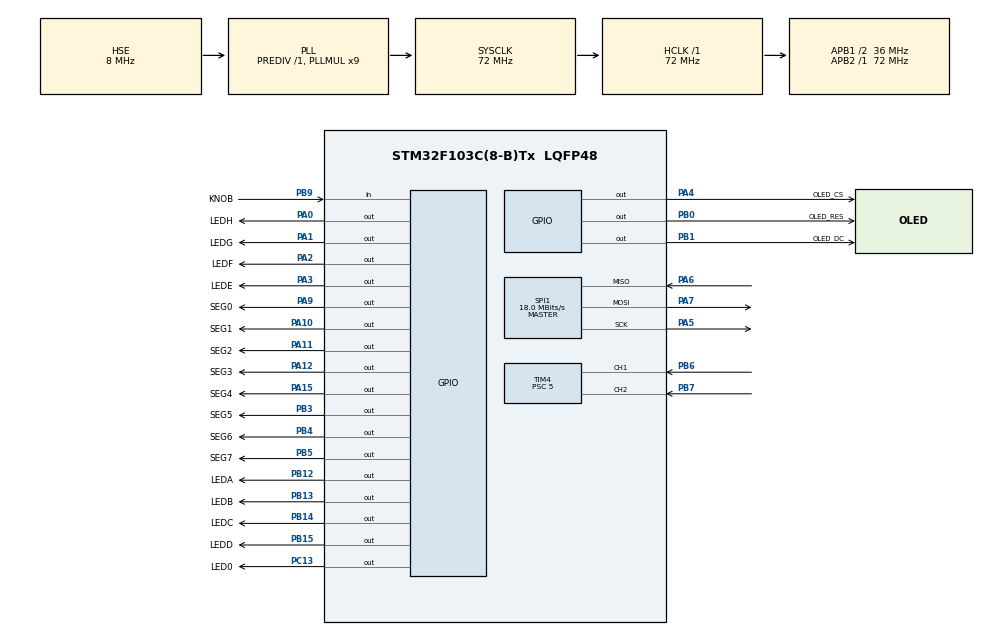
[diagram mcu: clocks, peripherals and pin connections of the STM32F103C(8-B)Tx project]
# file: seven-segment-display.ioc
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Mcu.Family=STM32F1
Mcu.Name=STM32F103C(8-B)Tx
Mcu.Package=LQFP48
NVIC.PriorityGroup=NVIC_PRIORITYGROUP_4
NVIC.RTC_IRQn=true\:0\:0\:false\:false\:true\:true\:true\:true
NVIC.TIM2_IRQn=true\:0\:0\:false\:false\:true\:true\:true\:true
NVIC.TIM3_IRQn=true\:0\:0\:false\:false\:true\:true\:true\:true
NVIC.TIM4_IRQn=true\:0\:0\:false\:false\:true\:true\:true\:true
PA0-WKUP.GPIO_Label=LEDH
PA0-WKUP.GPIO_ModeDefaultOutputPP=GPIO_MODE_OUTPUT_OD
PA0-WKUP.GPIO_PuPd=GPIO_NOPULL
PA0-WKUP.Signal=GPIO_Output
PA1.GPIO_Label=LEDG
PA1.GPIO_ModeDefaultOutputPP=GPIO_MODE_OUTPUT_OD
PA1.GPIO_PuPd=GPIO_NOPULL
PA1.Signal=GPIO_Output
PA10.GPIO_Label=SEG1
PA10.GPIO_ModeDefaultOutputPP=GPIO_MODE_OUTPUT_PP
PA10.GPIO_PuPd=GPIO_NOPULL
PA10.Signal=GPIO_Output
PA11.GPIO_Label=SEG2
PA11.GPIO_ModeDefaultOutputPP=GPIO_MODE_OUTPUT_PP
PA11.GPIO_PuPd=GPIO_NOPULL
PA11.Signal=GPIO_Output
PA12.GPIO_Label=SEG3
PA12.GPIO_ModeDefaultOutputPP=GPIO_MODE_OUTPUT_PP
PA12.GPIO_PuPd=GPIO_NOPULL
PA12.Signal=GPIO_Output
PA13.Mode=Serial_Wire
PA13.Signal=SYS_JTMS-SWDIO
PA14.Mode=Serial_Wire
PA14.Signal=SYS_JTCK-SWCLK
PA15.GPIO_Label=SEG4
PA15.GPIO_ModeDefaultOutputPP=GPIO_MODE_OUTPUT_PP
PA15.GPIO_PuPd=GPIO_NOPULL
PA15.Signal=GPIO_Output
PA2.GPIO_Label=LEDF
PA2.GPIO_ModeDefaultOutputPP=GPIO_MODE_OUTPUT_OD
PA2.GPIO_PuPd=GPIO_NOPULL
PA2.Signal=GPIO_Output
PA3.GPIO_Label=LEDE
PA3.GPIO_ModeDefaultOutputPP=GPIO_MODE_OUTPUT_OD
PA3.GPIO_PuPd=GPIO_NOPULL
PA3.Signal=GPIO_Output
PA4.GPIO_Label=OLED_CS
PA4.Signal=GPIO_Output
PA5.Mode=Full_Duplex_Master
PA5.Signal=SPI1_SCK
PA6.Mode=Full_Duplex_Master
PA6.Signal=SPI1_MISO
PA7.Mode=Full_Duplex_Master
PA7.Signal=SPI1_MOSI
PA9.GPIO_Label=SEG0
PA9.GPIO_ModeDefaultOutputPP=GPIO_MODE_OUTPUT_OD
PA9.GPIO_PuPd=GPIO_NOPULL
PA9.Signal=GPIO_Output
PB0.GPIO_Label=OLED_RES
PB0.Signal=GPIO_Output
PB1.GPIO_Label=OLED_DC
PB1.Signal=GPIO_Output
PB12.GPIO_Label=LEDA
PB12.GPIO_ModeDefaultOutputPP=GPIO_MODE_OUTPUT_OD
PB12.GPIO_PuPd=GPIO_NOPULL
PB12.Signal=GPIO_Output
PB13.GPIO_Label=LEDB
PB13.GPIO_ModeDefaultOutputPP=GPIO_MODE_OUTPUT_OD
PB13.GPIO_PuPd=GPIO_NOPULL
PB13.Signal=GPIO_Output
PB14.GPIO_Label=LEDC
PB14.GPIO_ModeDefaultOutputPP=GPIO_MODE_OUTPUT_OD
PB14.GPIO_PuPd=GPIO_NOPULL
PB14.Signal=GPIO_Output
PB15.GPIO_Label=LEDD
PB15.GPIO_ModeDefaultOutputPP=GPIO_MODE_OUTPUT_OD
PB15.GPIO_PuPd=GPIO_NOPULL
PB15.Signal=GPIO_Output
PB3.GPIO_Label=SEG5
PB3.GPIO_ModeDefaultOutputPP=GPIO_MODE_OUTPUT_PP
PB3.GPIO_PuPd=GPIO_NOPULL
PB3.Signal=GPIO_Output
PB4.GPIO_Label=SEG6
PB4.GPIO_ModeDefaultOutputPP=GPIO_MODE_OUTPUT_PP
PB4.GPIO_PuPd=GPIO_NOPULL
PB4.Signal=GPIO_Output
PB5.GPIO_Label=SEG7
PB5.GPIO_ModeDefaultOutputPP=GPIO_MODE_OUTPUT_PP
PB5.GPIO_PuPd=GPIO_NOPULL
PB5.Signal=GPIO_Output
PB6.Signal=S_TIM4_CH1
PB7.Signal=S_TIM4_CH2
PB9.GPIO_Label=KNOB
PB9.Signal=GPIO_Input
PC13-TAMPER-RTC.GPIO_Label=LED0
PC13-TAMPER-RTC.GPIO_ModeDefaultOutputPP=GPIO_MODE_OUTPUT_OD
PC13-TAMPER-RTC.GPIO_PuPd=GPIO_NOPULL
PC13-TAMPER-RTC.Signal=GPIO_Output
PC14-OSC32_IN.Mode=LSE-External-Oscillator
PC14-OSC32_IN.Signal=RCC_OSC32_IN
PC15-OSC32_OUT.Mode=LSE-External-Oscillator
PC15-OSC32_OUT.Signal=RCC_OSC32_OUT
PD0-OSC_IN.Mode=HSE-External-Oscillator
PD0-OSC_IN.Signal=RCC_OSC_IN
PD1-OSC_OUT.Mode=HSE-External-Oscillator
PD1-OSC_OUT.Signal=RCC_OSC_OUT
ProjectManager.HeapSize=0x200
ProjectManager.StackSize=0x400
ProjectManager.TargetToolchain=STM32CubeIDE
RCC.AHBFreq_Value=72000000
RCC.APB1CLKDivider=RCC_HCLK_DIV2
RCC.APB1Freq_Value=36000000
RCC.APB1TimFreq_Value=72000000
RCC.APB2Freq_Value=72000000
RCC.APB2TimFreq_Value=72000000
RCC.HCLKFreq_Value=72000000
RCC.PLLMUL=RCC_PLL_MUL9
RCC.PLLSourceVirtual=RCC_PLLSOURCE_HSE
RCC.RTCClockSelection=RCC_RTCCLKSOURCE_LSE
RCC.SYSCLKFreq_VALUE=72000000
RCC.SYSCLKSource=RCC_SYSCLKSOURCE_PLLCLK
RCC.USBFreq_Value=72000000
RTC.Date=27
RTC.Format=RTC_FORMAT_BIN
RTC.Hours=11
RTC.Minutes=59
RTC.Month=RTC_MONTH_SEPTEMBER
RTC.OutPut=RTC_OUTPUTSOURCE_ALARM
RTC.Seconds=58
RTC.Year=23
SH.S_TIM4_CH1.0=TIM4_CH1,Encoder_Interface
SH.S_TIM4_CH2.0=TIM4_CH2,Encoder_Interface
SPI1.BaudRatePrescaler=SPI_BAUDRATEPRESCALER_4
SPI1.CLKPhase=SPI_PHASE_2EDGE
SPI1.CLKPolarity=SPI_POLARITY_HIGH
SPI1.CalculateBaudRate=18.0 MBits/s
SPI1.Direction=SPI_DIRECTION_2LINES
SPI1.Mode=SPI_MODE_MASTER
SPI1.VirtualType=VM_MASTER
TIM2.Period=10000-1
TIM2.Prescaler=100-1
TIM3.Period=10000-1
TIM3.Prescaler=60-1
TIM4.EncoderMode=TIM_ENCODERMODE_TI12
TIM4.IC1Filter=5
TIM4.IC2Filter=5
TIM4.Period=30
TIM4.Prescaler=5
VP_RTC_VS_RTC_Activate.Mode=RTC_Enabled
VP_RTC_VS_RTC_Calendar.Mode=RTC_Calendar
VP_TIM2_VS_ClockSourceINT.Mode=Internal
VP_TIM3_VS_ClockSourceINT.Mode=Internal
board=custom

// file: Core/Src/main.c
/* USER CODE BEGIN Header */
/**
  ******************************************************************************
  * @file           : main.c
  * @brief          : Main program body
  ******************************************************************************
  * @attention
  *
  * Copyright (c) 2023 STMicroelectronics.
  * All rights reserved.
  *
  * This software is licensed under terms that can be found in the LICENSE file
  * in the root directory of this software component.
  * If no LICENSE file comes with this software, it is provided AS-IS.
  *
  ******************************************************************************
  */
/* USER CODE END Header */
#include "main.h"
#include "rtc.h"
#include "spi.h"
#include "tim.h"
#include "gpio.h"

/* USER CODE BEGIN Includes */
#include "led.h"
#include "stdio.h"
#include "fezui.h"
#include "fezui_var.h"

/* USER CODE END Includes */

/* USER CODE BEGIN PV */
char str[16];
/* USER CODE END PV */

void SystemClock_Config(void);

/* USER CODE BEGIN 0 */
//寄存器基地址
#define    DWT_CR    *(uint32_t*)0xE0001000
#define    DWT_CYCCNT    *(uint32_t*)0xE0001004
#define    DEM_CR    *(uint32_t*)0xE000EDFC

//定义�????使能�????
#define    DEM_CR_TRCENA    (1<<24)
#define    DWT_CR_CYCCNTENA    (1<<0)

//DWT init
void delayMicroseconds(uint32_t us)
{
    __IO uint32_t currentTicks = SysTick->VAL;
  /* Number of ticks per millisecond */
  const uint32_t tickPerMs = SysTick->LOAD + 1;
  /* Number of ticks to count */
  const uint32_t nbTicks = ((us - ((us > 0) ? 1 : 0)) * tickPerMs) / 1000;
  /* Number of elapsed ticks */
  uint32_t elapsedTicks = 0;
  __IO uint32_t oldTicks = currentTicks;
  do {
    currentTicks = SysTick->VAL;
    elapsedTicks += (oldTicks < currentTicks) ? tickPerMs + oldTicks - currentTicks :
                    oldTicks - currentTicks;
    oldTicks = currentTicks;
  } while (nbTicks > elapsedTicks);
}
/* USER CODE END 0 */

int main(void)
{

  /* MCU Configuration--------------------------------------------------------*/

  /* Reset of all peripherals, Initializes the Flash interface and the Systick. */
  HAL_Init();

  /* Configure the system clock */
  SystemClock_Config();

  /* Initialize all configured peripherals */
  MX_GPIO_Init();
  MX_SPI1_Init();
  MX_TIM4_Init();
  MX_RTC_Init();
  MX_TIM3_Init();
  MX_TIM2_Init();
  /* USER CODE BEGIN 2 */
  fezui_init();
  HAL_TIM_Encoder_Start_IT(&htim4,TIM_CHANNEL_1);
  HAL_TIM_Base_Start_IT(&htim2);
  HAL_TIM_Base_Start_IT(&htim3);
  /* USER CODE END 2 */

  /* Infinite loop */
  /* USER CODE BEGIN WHILE */
  while (1)
  {

    HAL_GPIO_TogglePin(LED0_GPIO_Port, LED0_Pin);
    fezui_render_handler();
    //HAL_Delay(100);
    /* USER CODE END WHILE */

  }
}

void SystemClock_Config(void)
{
  RCC_OscInitTypeDef RCC_OscInitStruct = {0};
  RCC_ClkInitTypeDef RCC_ClkInitStruct = {0};
  RCC_PeriphCLKInitTypeDef PeriphClkInit = {0};

  /** Initializes the RCC Oscillators according to the specified parameters
  * in the RCC_OscInitTypeDef structure.
  */
  RCC_OscInitStruct.OscillatorType = RCC_OSCILLATORTYPE_HSE|RCC_OSCILLATORTYPE_LSE;
  RCC_OscInitStruct.HSEState = RCC_HSE_ON;
  RCC_OscInitStruct.HSEPredivValue = RCC_HSE_PREDIV_DIV1;
  RCC_OscInitStruct.LSEState = RCC_LSE_ON;
  RCC_OscInitStruct.HSIState = RCC_HSI_ON;
  RCC_OscInitStruct.PLL.PLLState = RCC_PLL_ON;
  RCC_OscInitStruct.PLL.PLLSource = RCC_PLLSOURCE_HSE;
  RCC_OscInitStruct.PLL.PLLMUL = RCC_PLL_MUL9;
  if (HAL_RCC_OscConfig(&RCC_OscInitStruct) != HAL_OK)
  {
    Error_Handler();
  }

  /** Initializes the CPU, AHB and APB buses clocks
  */
  RCC_ClkInitStruct.ClockType = RCC_CLOCKTYPE_HCLK|RCC_CLOCKTYPE_SYSCLK
                              |RCC_CLOCKTYPE_PCLK1|RCC_CLOCKTYPE_PCLK2;
  RCC_ClkInitStruct.SYSCLKSource = RCC_SYSCLKSOURCE_PLLCLK;
  RCC_ClkInitStruct.AHBCLKDivider = RCC_SYSCLK_DIV1;
  RCC_ClkInitStruct.APB1CLKDivider = RCC_HCLK_DIV2;
  RCC_ClkInitStruct.APB2CLKDivider = RCC_HCLK_DIV1;

  if (HAL_RCC_ClockConfig(&RCC_ClkInitStruct, FLASH_LATENCY_2) != HAL_OK)
  {
    Error_Handler();
  }
  PeriphClkInit.PeriphClockSelection = RCC_PERIPHCLK_RTC;
  PeriphClkInit.RTCClockSelection = RCC_RTCCLKSOURCE_LSE;
  if (HAL_RCCEx_PeriphCLKConfig(&PeriphClkInit) != HAL_OK)
  {
    Error_Handler();
  }
}

/* USER CODE BEGIN 4 */

void HAL_TIM_IC_CaptureCallback(TIM_HandleTypeDef *htim)
{
    if(htim == &htim4)
    {
        if(htim->Instance->CR1==0x11)
        {
            if(key_up.key_cb[0])
                key_up.key_cb[0](&key_up);
        }
        if(htim->Instance->CR1==0x01)
        {
            if(key_down.key_cb[0])
                key_down.key_cb[0](&key_down);
        }
    }
}

void HAL_TIM_PeriodElapsedCallback(TIM_HandleTypeDef *htim)
{
    if (htim->Instance == TIM2)
    {
        if(showdate)
        {
            sprintf(str,"%04d%02d%02d",2000+date.Year,date.Month,date.Date);
        }
        else
        {
            sprintf(str,"%02d-%02d-%02d",time.Hours,time.Minutes,time.Seconds);
        }
        VAR_LOOP_INCREMENT(Current_Channel,0,7,1);
        Segment_Select(Current_Channel);
        Char_Select(str[Current_Channel]);
        if(showdate)
        {
            if(Current_Channel==3||Current_Channel==5)
            {
                HAL_GPIO_WritePin(LEDH_GPIO_Port, LEDH_Pin, GPIO_PIN_RESET);
            }
        }
        //HAL_IWDG_Refresh(&hiwdg);
    }
    if (htim->Instance == TIM3)
    {
        fezui_timer_handler();
        //HAL_IWDG_Refresh(&hiwdg);
    }
}
/* USER CODE END 4 */

void Error_Handler(void)
{
  __disable_irq();
  while (1)
  {
  }
}
